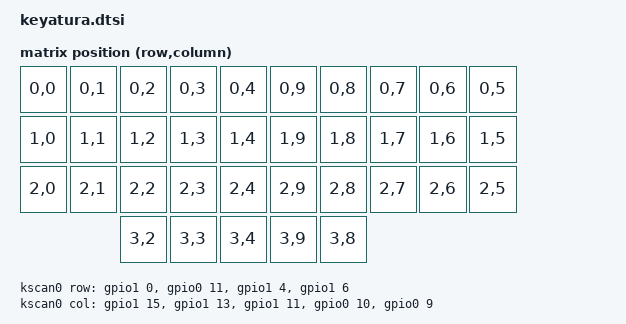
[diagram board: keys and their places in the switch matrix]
#include <dt-bindings/zmk/matrix_transform.h>
#include "keyatura-layouts.dtsi"

/ {
    chosen {
        zmk,kscan = &kscan0;
        // zmk,matrix_transform = &default_transform;
        zmk,physical-layout = &physical_layout0;
    }; 

    default_transform: keymap_transform0 {
        compatible = "zmk,matrix-transform";
        columns = <10>;
        rows = <4>;

        map = <
            RC(0,0) RC(0,1) RC(0,2) RC(0,3) RC(0,4) RC(0,9) RC(0,8) RC(0,7) RC(0,6) RC(0,5)
            RC(1,0) RC(1,1) RC(1,2) RC(1,3) RC(1,4) RC(1,9) RC(1,8) RC(1,7) RC(1,6) RC(1,5)
            RC(2,0) RC(2,1) RC(2,2) RC(2,3) RC(2,4) RC(2,9) RC(2,8) RC(2,7) RC(2,6) RC(2,5)
                            RC(3,2) RC(3,3) RC(3,4) RC(3,9) RC(3,8)
        >;
    };

    kscan0: kscan {
        compatible = "zmk,kscan-gpio-matrix";
        label = "KSCAN";

        diode-direction = "row2col";
		row-gpios
			= <&gpio1 0 GPIO_ACTIVE_HIGH>
			, <&gpio0 11 GPIO_ACTIVE_HIGH>
			, <&gpio1 4 GPIO_ACTIVE_HIGH>
			, <&gpio1 6 GPIO_ACTIVE_HIGH>
            ;
            
        col-gpios
            = <&gpio1 15 (GPIO_ACTIVE_HIGH | GPIO_PULL_DOWN)>
            , <&gpio1 13 (GPIO_ACTIVE_HIGH | GPIO_PULL_DOWN)>
            , <&gpio1 11 (GPIO_ACTIVE_HIGH | GPIO_PULL_DOWN)>
            , <&gpio0 10 (GPIO_ACTIVE_HIGH | GPIO_PULL_DOWN)>
            , <&gpio0 9 (GPIO_ACTIVE_HIGH | GPIO_PULL_DOWN)>
            ;
    };

    split_inputs {
        #address-cells = <1>;
        #size-cells = <0>;

        trackball_split: trackball_split@0 {
            compatible = "zmk,input-split";
            reg = <0>;
        };
    };

    trackball_listener: trackball_listener {
        compatible = "zmk,input-listener";
        status = "disabled";
        device = <&trackball_split>;
    };
    
};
